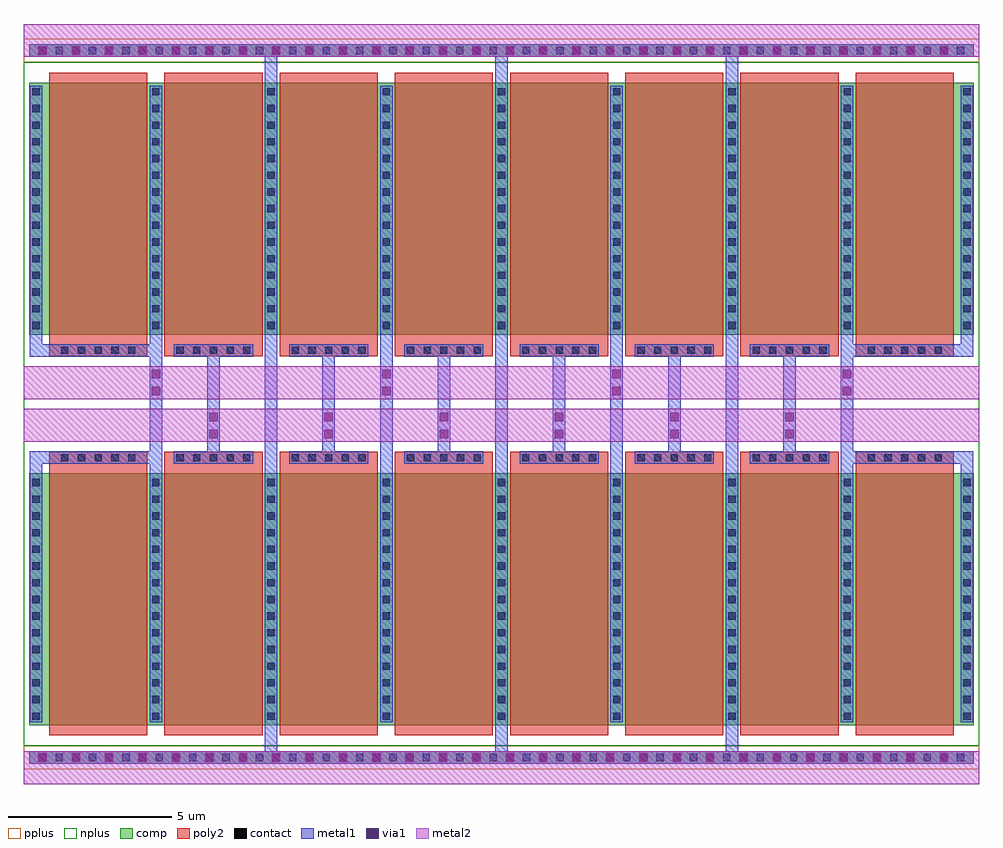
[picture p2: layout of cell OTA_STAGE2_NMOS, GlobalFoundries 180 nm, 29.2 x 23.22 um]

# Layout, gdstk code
import gdstk
lib = gdstk.Library(unit=1e-6, precision=5e-09)
def R(c, l, rs):  # rectangles x0, y0, x1, y1
    for r in rs: c.add(gdstk.rectangle(r[:2], r[2:], *l))
def A(c, l, x, y, w, h, nx, ny, dx, dy):  # array of equal rectangles
    R(c, l, [(x+i*dx, y+j*dy, x+i*dx+w, y+j*dy+h) for i in range(nx) for j in range(ny)])
comp = (22, 0)
poly2 = (30, 0)
pplus = (31, 0)
nplus = (32, 0)
contact = (33, 0)
metal1 = (34, 0)
via1 = (35, 0)
metal2 = (36, 0)

nfet_1_1 = lib.new_cell('nfet$1$1')
R(nfet_1_1, comp, [(-0.42,0,0,7.7), (0,0,28.02,7.7), (28.02,0,28.44,7.7)])
A(nfet_1_1, poly2, 0.19, -0.66, 3, 0.36, 8, 1, 3.52, 0)
A(nfet_1_1, poly2, 0.19, -0.3, 3, 8.3, 8, 1, 3.52, 0)
R(nfet_1_1, nplus, [(-0.59,-0.24,28.61,7.94)])
A(nfet_1_1, contact, 0.56, -0.59, 0.22, 0.22, 5, 1, 0.51, 0)
A(nfet_1_1, contact, 4.08, -0.59, 0.22, 0.22, 5, 1, 0.51, 0)
A(nfet_1_1, contact, 7.6, -0.59, 0.22, 0.22, 5, 1, 0.51, 0)
A(nfet_1_1, contact, 11.12, -0.59, 0.22, 0.22, 5, 1, 0.51, 0)
A(nfet_1_1, contact, 14.64, -0.59, 0.22, 0.22, 5, 1, 0.51, 0)
A(nfet_1_1, contact, 18.16, -0.59, 0.22, 0.22, 5, 1, 0.51, 0)
A(nfet_1_1, contact, 21.68, -0.59, 0.22, 0.22, 5, 1, 0.51, 0)
A(nfet_1_1, contact, 25.2, -0.59, 0.22, 0.22, 5, 1, 0.51, 0)
A(nfet_1_1, contact, -0.32, 0.17, 0.22, 0.22, 1, 15, 0, 0.51)
A(nfet_1_1, contact, 3.34, 0.17, 0.22, 0.22, 7, 15, 3.52, 0.51)
A(nfet_1_1, contact, 28.12, 0.17, 0.22, 0.22, 1, 15, 0, 0.51)
A(nfet_1_1, metal1, 0.48, -0.67, 2.42, 0.38, 8, 1, 3.52, 0)
A(nfet_1_1, metal1, 3.26, 0.09, 0.38, 7.52, 7, 1, 3.52, 0)
R(nfet_1_1, metal1, [(-0.4,0.09,-0.02,7.61), (28.04,0.09,28.42,7.61)])

nfet_2 = lib.new_cell('nfet$2')
R(nfet_2, comp, [(-0.42,0,0,7.7), (0,0,28.02,7.7), (28.02,0,28.44,7.7)])
A(nfet_2, poly2, 0.19, -0.3, 3, 8.3, 8, 1, 3.52, 0)
A(nfet_2, poly2, 0.19, 8, 3, 0.36, 8, 1, 3.52, 0)
R(nfet_2, nplus, [(-0.59,-0.24,28.61,7.94)])
A(nfet_2, contact, -0.32, 0.17, 0.22, 0.22, 1, 15, 0, 0.51)
A(nfet_2, contact, 3.34, 0.17, 0.22, 0.22, 7, 15, 3.52, 0.51)
A(nfet_2, contact, 28.12, 0.17, 0.22, 0.22, 1, 15, 0, 0.51)
A(nfet_2, contact, 0.56, 8.07, 0.22, 0.22, 5, 1, 0.51, 0)
A(nfet_2, contact, 4.08, 8.07, 0.22, 0.22, 5, 1, 0.51, 0)
A(nfet_2, contact, 7.6, 8.07, 0.22, 0.22, 5, 1, 0.51, 0)
A(nfet_2, contact, 11.12, 8.07, 0.22, 0.22, 5, 1, 0.51, 0)
A(nfet_2, contact, 14.64, 8.07, 0.22, 0.22, 5, 1, 0.51, 0)
A(nfet_2, contact, 18.16, 8.07, 0.22, 0.22, 5, 1, 0.51, 0)
A(nfet_2, contact, 21.68, 8.07, 0.22, 0.22, 5, 1, 0.51, 0)
A(nfet_2, contact, 25.2, 8.07, 0.22, 0.22, 5, 1, 0.51, 0)
A(nfet_2, metal1, 3.26, 0.09, 0.38, 7.52, 7, 1, 3.52, 0)
A(nfet_2, metal1, 0.48, 7.99, 2.42, 0.38, 8, 1, 3.52, 0)
R(nfet_2, metal1, [(-0.4,0.09,-0.02,7.61), (28.04,0.09,28.42,7.61)])

ota_stage2_nmos = lib.new_cell('OTA_STAGE2_NMOS')
R(ota_stage2_nmos, nplus, [(7.63,7.525,36.83,28.405)])
A(ota_stage2_nmos, contact, 8.095, 7.055, 0.22, 0.22, 56, 2, 0.51, 21.6)
A(ota_stage2_nmos, via1, 8.075, 7.035, 0.26, 0.26, 28, 2, 1.02, 21.6)
A(ota_stage2_nmos, via1, 13.3, 16.925, 0.26, 0.26, 6, 2, 3.52, 0.52)
A(ota_stage2_nmos, via1, 11.54, 18.225, 0.26, 0.26, 4, 2, 7.04, 0.52)
ota_stage2_nmos.add(gdstk.FlexPath([(8.01,15.755),(8.01,16.325),(8.7,16.325)], 0.38, ends="flush", simple_path=True, layer=34, datatype=0))  # metal1
ota_stage2_nmos.add(gdstk.FlexPath([(8.01,20.175),(8.01,19.605),(8.7,19.605)], 0.38, ends="flush", simple_path=True, layer=34, datatype=0))  # metal1
ota_stage2_nmos.add(gdstk.FlexPath([(11.67,20.175),(11.67,15.755)], 0.38, ends="flush", simple_path=True, layer=34, datatype=0))  # metal1
ota_stage2_nmos.add(gdstk.FlexPath([(11.12,16.325),(11.86,16.325)], 0.38, ends="flush", simple_path=True, layer=34, datatype=0))  # metal1
ota_stage2_nmos.add(gdstk.FlexPath([(11.12,19.605),(11.86,19.605)], 0.38, ends="flush", simple_path=True, layer=34, datatype=0))  # metal1
ota_stage2_nmos.add(gdstk.FlexPath([(36.45,20.175),(36.45,19.605),(35.76,19.605)], 0.38, ends="flush", simple_path=True, layer=34, datatype=0))  # metal1
ota_stage2_nmos.add(gdstk.FlexPath([(36.45,15.755),(36.45,16.325),(35.76,16.325)], 0.38, ends="flush", simple_path=True, layer=34, datatype=0))  # metal1
ota_stage2_nmos.add(gdstk.FlexPath([(32.79,15.755),(32.79,20.175)], 0.38, ends="flush", simple_path=True, layer=34, datatype=0))  # metal1
ota_stage2_nmos.add(gdstk.FlexPath([(33.34,19.605),(32.6,19.605)], 0.38, ends="flush", simple_path=True, layer=34, datatype=0))  # metal1
ota_stage2_nmos.add(gdstk.FlexPath([(33.34,16.325),(32.6,16.325)], 0.38, ends="flush", simple_path=True, layer=34, datatype=0))  # metal1
ota_stage2_nmos.add(gdstk.FlexPath([(15.19,15.755),(15.19,20.175)], 0.38, ends="flush", simple_path=True, layer=34, datatype=0))  # metal1
ota_stage2_nmos.add(gdstk.FlexPath([(18.71,15.755),(18.71,20.175)], 0.38, ends="flush", simple_path=True, layer=34, datatype=0))  # metal1
ota_stage2_nmos.add(gdstk.FlexPath([(29.27,15.755),(29.27,20.175)], 0.38, ends="flush", simple_path=True, layer=34, datatype=0))  # metal1
ota_stage2_nmos.add(gdstk.FlexPath([(25.75,20.175),(25.75,15.755)], 0.38, ends="flush", simple_path=True, layer=34, datatype=0))  # metal1
ota_stage2_nmos.add(gdstk.FlexPath([(22.23,20.175),(22.23,15.755)], 0.38, ends="flush", simple_path=True, layer=34, datatype=0))  # metal1
ota_stage2_nmos.add(gdstk.FlexPath([(7.8,7.165),(36.66,7.165)], 0.38, ends="flush", simple_path=True, layer=34, datatype=0))  # metal1
ota_stage2_nmos.add(gdstk.FlexPath([(36.66,28.765),(7.8,28.765)], 0.38, ends="flush", simple_path=True, layer=34, datatype=0))  # metal1
ota_stage2_nmos.add(gdstk.FlexPath([(29.27,8.235),(29.27,7.355)], 0.38, ends="flush", simple_path=True, layer=34, datatype=0))  # metal1
ota_stage2_nmos.add(gdstk.FlexPath([(22.23,8.235),(22.23,7.355)], 0.38, ends="flush", simple_path=True, layer=34, datatype=0))  # metal1
ota_stage2_nmos.add(gdstk.FlexPath([(15.19,8.235),(15.19,7.355)], 0.38, ends="flush", simple_path=True, layer=34, datatype=0))  # metal1
ota_stage2_nmos.add(gdstk.FlexPath([(15.19,27.695),(15.19,28.575)], 0.38, ends="flush", simple_path=True, layer=34, datatype=0))  # metal1
ota_stage2_nmos.add(gdstk.FlexPath([(22.23,27.695),(22.23,28.575)], 0.38, ends="flush", simple_path=True, layer=34, datatype=0))  # metal1
ota_stage2_nmos.add(gdstk.FlexPath([(29.27,27.695),(29.27,28.575)], 0.38, ends="flush", simple_path=True, layer=34, datatype=0))  # metal1
ota_stage2_nmos.add(gdstk.FlexPath([(13.43,19.415),(13.43,16.515)], 0.38, ends="flush", simple_path=True, layer=34, datatype=0))  # metal1
ota_stage2_nmos.add(gdstk.FlexPath([(16.95,19.415),(16.95,16.515)], 0.38, ends="flush", simple_path=True, layer=34, datatype=0))  # metal1
ota_stage2_nmos.add(gdstk.FlexPath([(20.47,19.415),(20.47,16.515)], 0.38, ends="flush", simple_path=True, layer=34, datatype=0))  # metal1
ota_stage2_nmos.add(gdstk.FlexPath([(23.99,19.415),(23.99,16.515)], 0.38, ends="flush", simple_path=True, layer=34, datatype=0))  # metal1
ota_stage2_nmos.add(gdstk.FlexPath([(27.51,19.415),(27.51,16.515)], 0.38, ends="flush", simple_path=True, layer=34, datatype=0))  # metal1
ota_stage2_nmos.add(gdstk.FlexPath([(31.03,19.415),(31.03,16.515)], 0.38, ends="flush", simple_path=True, layer=34, datatype=0))  # metal1
ota_stage2_nmos.add(gdstk.FlexPath([(7.8,28.765),(36.66,28.765)], 0.38, ends="flush", simple_path=True, layer=22, datatype=0))  # comp
ota_stage2_nmos.add(gdstk.FlexPath([(7.8,7.165),(36.66,7.165)], 0.38, ends="flush", simple_path=True, layer=22, datatype=0))  # comp
ota_stage2_nmos.add(gdstk.FlexPath([(7.63,28.765),(36.83,28.765)], 0.72, ends="flush", simple_path=True, layer=31, datatype=0))  # pplus
ota_stage2_nmos.add(gdstk.FlexPath([(7.63,7.165),(36.83,7.165)], 0.72, ends="flush", simple_path=True, layer=31, datatype=0))  # pplus
ota_stage2_nmos.add(gdstk.FlexPath([(7.63,29.075),(36.83,29.075)], 1, ends="flush", simple_path=True, layer=36, datatype=0))  # metal2
ota_stage2_nmos.add(gdstk.FlexPath([(7.63,6.855),(36.83,6.855)], 1, ends="flush", simple_path=True, layer=36, datatype=0))  # metal2
ota_stage2_nmos.add(gdstk.FlexPath([(7.63,17.315),(36.83,17.315)], 1, ends="flush", simple_path=True, layer=36, datatype=0))  # metal2
ota_stage2_nmos.add(gdstk.FlexPath([(7.63,18.615),(36.83,18.615)], 1, ends="flush", simple_path=True, layer=36, datatype=0))  # metal2
ota_stage2_nmos.add(gdstk.Reference(nfet_1_1, (8.22,20.085)))
ota_stage2_nmos.add(gdstk.Reference(nfet_2, (8.22,8.145)))

lib.write_gds('OTA_STAGE2_NMOS.gds')
